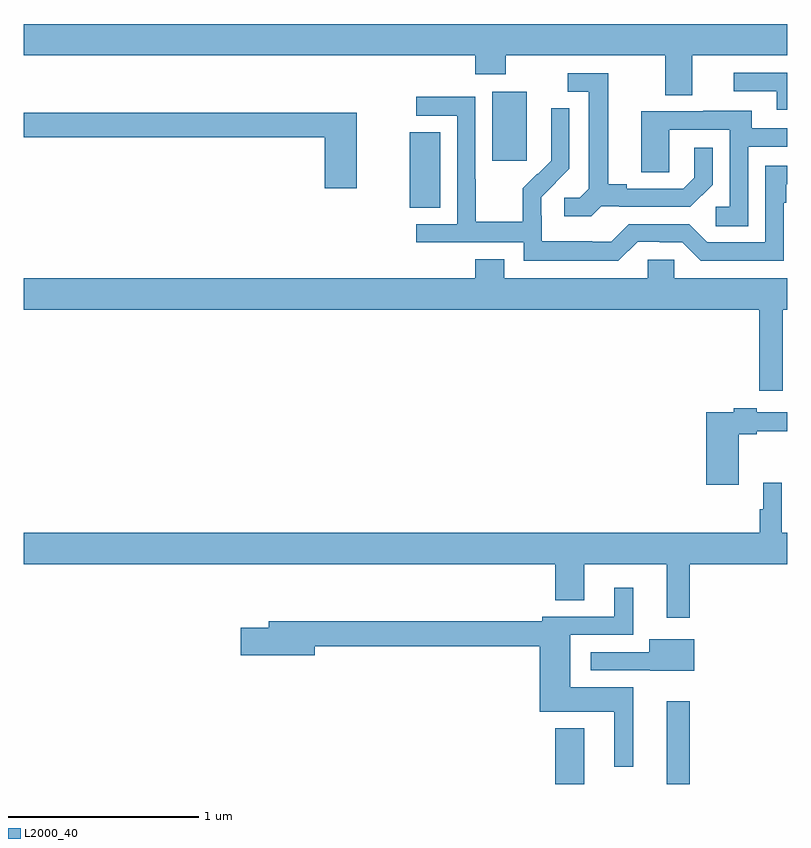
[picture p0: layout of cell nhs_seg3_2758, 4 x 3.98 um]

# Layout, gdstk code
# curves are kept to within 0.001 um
import gdstk
lib = gdstk.Library(unit=1e-6, precision=1e-09)
def R(c, l, rs):  # rectangles x0, y0, x1, y1
    for r in rs: c.add(gdstk.rectangle(r[:2], r[2:], *l))
def P(c, l, *ps):  # polygons
    for p in ps: c.add(gdstk.Polygon(p, *l))
L2000_40 = (2000, 40)

nhs_seg3_2758 = lib.new_cell('nhs_seg3_2758')
R(nhs_seg3_2758, L2000_40, [(255.785,730.4,255.937,730.693), (256.367,730.4,256.489,730.834), (255.023,733.417,255.181,733.814), (255.455,733.665,255.634,734.026)])
P(nhs_seg3_2758, L2000_40, [(256.501,734.216),(257,734.216),(257,734.38),(253,734.38),(253,734.216),(255.365,734.216),(255.365,734.117),(255.525,734.117),(255.525,734.216),(256.361,734.216),(256.361,734.008),(256.501,734.008)],
  [(257,734.124),(256.719,734.124),(256.719,734.028),(256.943,734.028),(256.943,733.932),(257,733.932)],
  [(256.026,733.425),(256.12,733.425),(256.12,733.422),(256.492,733.422),(256.608,733.538),(256.608,733.732),(256.511,733.732),(256.511,733.575),(256.454,733.518),(256.159,733.518),(256.159,733.541),(256.063,733.541),(256.063,734.121),(255.849,734.121),(255.849,734.025),(255.959,734.025),(255.959,733.517),(255.912,733.47),(255.831,733.47),(255.831,733.373),(255.974,733.373)],
  [(256.215,733.239),(256.331,733.239),(256.331,733.236),(256.449,733.236),(256.545,733.14),(256.98,733.14),(256.98,733.445),(256.993,733.445),(256.993,733.542),(257,733.542),(257,733.638),(256.884,733.638),(256.884,733.236),(256.581,733.236),(256.485,733.332),(256.17,733.332),(256.077,733.239),(255.977,733.239),(255.977,733.243),(255.714,733.243),(255.714,733.377),(255.712,733.377),(255.712,733.474),(255.858,733.622),(255.858,733.94),(255.762,733.94),(255.762,733.786),(255.764,733.786),(255.764,733.664),(255.693,733.593),(255.69,733.596),(255.613,733.519),(255.613,733.345),(255.369,733.345),(255.369,733.568),(255.366,733.568),(255.366,733.998),(255.057,733.998),(255.057,733.899),(255.27,733.899),(255.27,733.332),(255.057,733.332),(255.057,733.236),(255.618,733.236),(255.618,733.139),(256.115,733.139)],
  [(256.794,733.737),(257,733.737),(257,733.833),(256.813,733.833),(256.813,733.927),(256.559,733.927),(256.559,733.923),(256.235,733.923),(256.235,733.603),(256.38,733.603),(256.38,733.827),(256.698,733.827),(256.698,733.422),(256.626,733.422),(256.626,733.321),(256.794,733.321)],
  [(254.746,733.915),(253,733.915),(253,733.786),(254.576,733.786),(254.576,733.521),(254.746,733.521)],
  [(256.975,732.884),(257,732.884),(257,733.048),(256.407,733.048),(256.407,733.146),(256.269,733.146),(256.269,733.048),(255.517,733.048),(255.517,733.147),(255.365,733.147),(255.365,733.048),(253,733.048),(253,732.884),(256.853,732.884),(256.853,732.459),(256.975,732.459)],
  [(256.744,732.232),(256.84,732.232),(256.84,732.247),(257,732.247),(257,732.348),(256.84,732.348),(256.84,732.368),(256.72,732.368),(256.72,732.348),(256.574,732.348),(256.574,731.967),(256.744,731.967)],
  [(256.489,731.552),(257,731.552),(257,731.716),(256.971,731.716),(256.971,731.977),(256.874,731.977),(256.874,731.838),(256.855,731.838),(256.855,731.716),(253,731.716),(253,731.552),(255.785,731.552),(255.785,731.362),(255.937,731.362),(255.937,731.552),(256.367,731.552),(256.367,731.271),(256.489,731.271)],
  [(256.192,730.906),(255.862,730.906),(255.862,731.181),(256.192,731.181),(256.192,731.428),(256.094,731.428),(256.094,731.277),(255.716,731.277),(255.716,731.251),(254.285,731.251),(254.285,731.217),(254.136,731.217),(254.136,731.075),(254.524,731.075),(254.524,731.122),(255.704,731.122),(255.704,730.778),(256.094,730.778),(256.094,730.491),(256.192,730.491)],
  [(256.513,731.158),(256.277,731.158),(256.277,731.091),(255.969,731.091),(255.969,730.995),(256.281,730.995),(256.281,730.994),(256.513,730.994)])

lib.write_gds('nhs_seg3_2758.gds')
